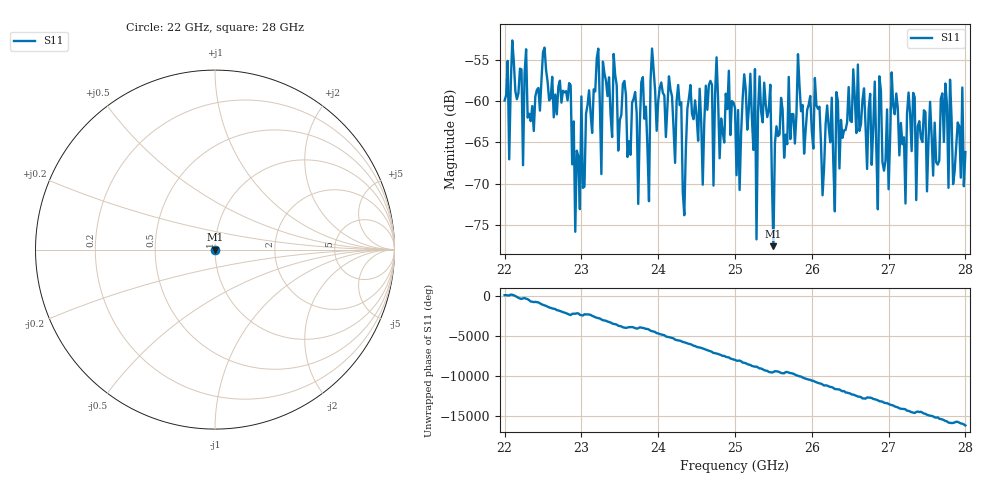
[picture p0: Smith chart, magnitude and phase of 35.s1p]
#  HZ  S  RI  R  50.00
! Rohde & Schwarz ZVA40 4Ports - Version 3.90 - 1145.1110k42 SN: 100403
! Date: 2023-10-04 06:51:36
! Measurement: S12
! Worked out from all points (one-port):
!   301 points, 22 GHz to 28 GHz, reference 50 ohm
!   lowest |S11| = -77.5 dB at 25.5 GHz (marker M1), VSWR 1.00, Z = 50 - j0.0107 ohm
!   |S11| at or under -10 dB: start of sweep to end of sweep
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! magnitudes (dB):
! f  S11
! 22 GHz  -59.9
! 22.76 GHz  -58.8
! 22.92 GHz  -75.8
! 23.22 GHz  -53.7
! 23.26 GHz  -68.8
! 23.28 GHz  -55.2
! 23.5 GHz  -62.3
! 24.26 GHz  -58.1
! 24.34 GHz  -73.8
! 24.42 GHz  -58.1
! 25 GHz  -60.8
! 25.26 GHz  -56.1
! 25.28 GHz  -76.7
! 25.32 GHz  -57.0
! 25.46 GHz  -58.0
! 25.5 GHz  -77.5
! 25.54 GHz  -63.0
! 25.76 GHz  -61.6
! 26.5 GHz  -62.3
! 26.82 GHz  -57.6
! 26.86 GHz  -73.1
! 26.88 GHz  -57.0
! 27 GHz  -70.6
! 27.04 GHz  -56.5
! 27.22 GHz  -72.4
! 27.26 GHz  -59.0
! 27.36 GHz  -72.0
! 28 GHz  -66.2
